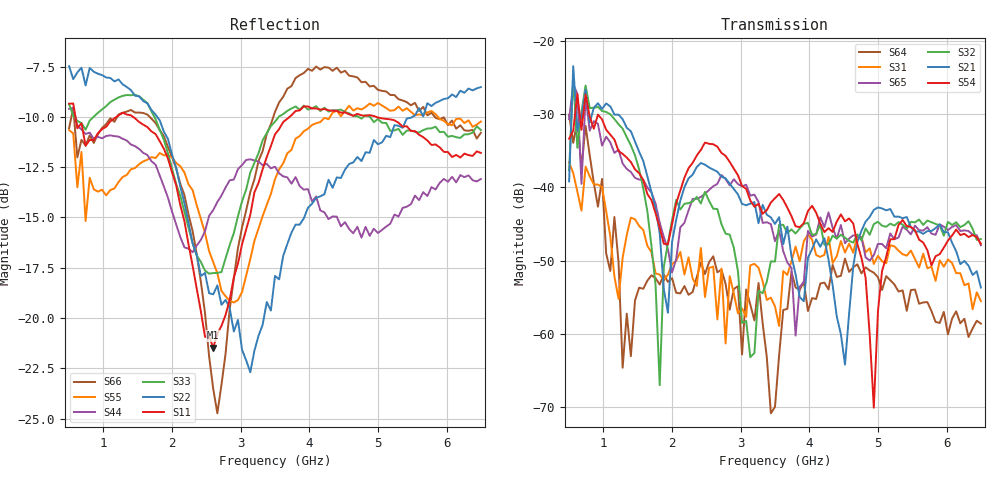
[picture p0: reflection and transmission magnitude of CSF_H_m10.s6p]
!Keysight Technologies,M9804A,MY58100912,A.14.10.03
!Date: Thursday, April 27, 2023 10:28:33
!Correction: S11(C  6-Port  )
!S12(C  6-Port  )
!S13(C  6-Port  )
!S14(C  6-Port  )
!S15(C  6-Port  )
!S16(C  6-Port  )
!S21(C  6-Port  )
!S22(C  6-Port  )
!S23(C  6-Port  )
!S24(C  6-Port  )
!S25(C  6-Port  )
!S26(C  6-Port  )
!S31(C  6-Port  )
!S32(C  6-Port  )
!S33(C  6-Port  )
!S34(C  6-Port  )
!S35(C  6-Port  )
!S36(C  6-Port  )
!S41(C  6-Port  )
!S42(C  6-Port  )
!S43(C  6-Port  )
!S44(C  6-Port  )
!S45(C  6-Port  )
!S46(C  6-Port  )
!S51(C  6-Port  )
!S52(C  6-Port  )
!S53(C  6-Port  )
!S54(C  6-Port  )
!S55(C  6-Port  )
!S56(C  6-Port  )
!S61(C  6-Port  )
!S62(C  6-Port  )
!S63(C  6-Port  )
!S64(C  6-Port  )
!S65(C  6-Port  )
!S66(C  6-Port  )
!S6P File: Measurement: :
# Hz S  RI  R 50
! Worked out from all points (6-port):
!   101 points, 500 MHz to 6.5 GHz, reference 50 ohm
!   strongest paths, dB at 500 MHz, 2 GHz, 3.5 GHz, 5 GHz, 6.5 GHz:
!     S54: -33.4, -45.0, -41.5, -56.9, -47.7
!     S21: -39.2, -47.5, -45.0, -42.8, -53.7
!     S32: -37.7, -44.5, -50.1, -44.7, -47.1
!     S65: -30.7, -51.6, -47.4, -47.7, -47.9
!     S31: -36.6, -50.5, -56.2, -49.4, -55.5
!     S64: -30.1, -52.4, -69.9, -52.3, -58.6
!   lowest |S11| = -21.5 dB at 2.6 GHz (marker M1), VSWR 1.18, Z = 42.5 + j2.12 ohm
!   |S11| at or under -10 dB: 592.4 MHz to 1.19 GHz (598.1 MHz wide, 67.1 % of centre); 1.431 GHz to 3.713 GHz (2.282 GHz wide, 88.7 % of centre); 4.972 GHz to end of sweep
